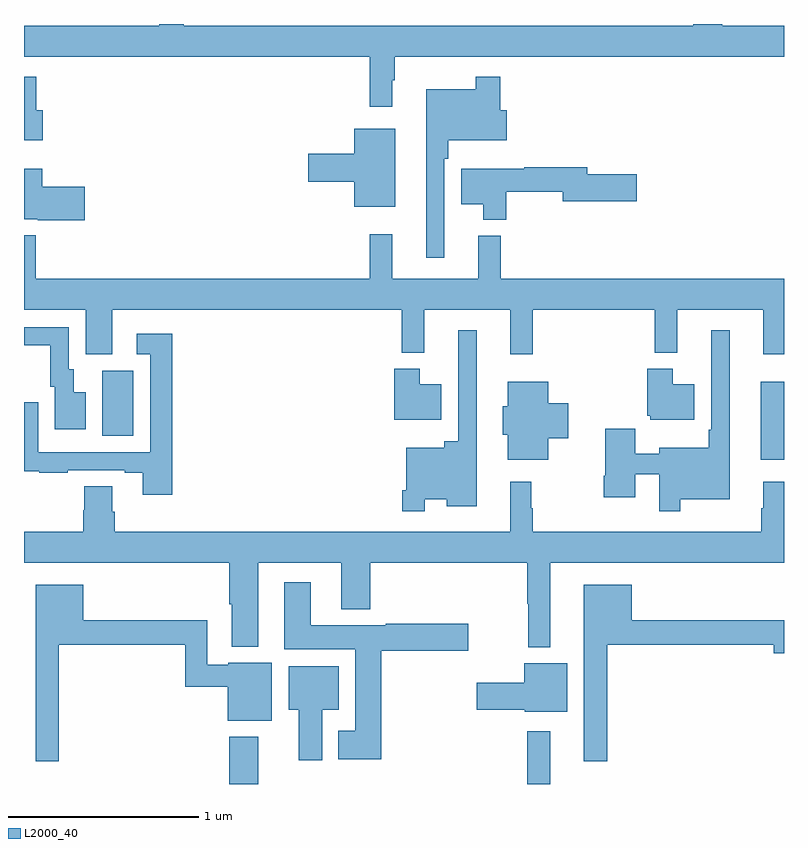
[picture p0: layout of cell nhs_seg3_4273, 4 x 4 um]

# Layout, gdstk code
import gdstk
lib = gdstk.Library(unit=1e-6, precision=1e-09)
def R(c, l, rs):  # rectangles x0, y0, x1, y1
    for r in rs: c.add(gdstk.rectangle(r[:2], r[2:], *l))
def P(c, l, *ps):  # polygons
    for p in ps: c.add(gdstk.Polygon(p, *l))
L2000_40 = (2000, 40)

nhs_seg3_4273 = lib.new_cell('nhs_seg3_4273')
R(nhs_seg3_4273, L2000_40, [(338.081,718.4,338.233,718.648), (339.648,718.4,339.769,718.678), (340.877,720.107,341,720.517), (337.412,720.232,337.576,720.576)])
P(nhs_seg3_4273, L2000_40, [(338.938,722.105),(338.95,722.105),(338.95,722.228),(341,722.228),(341,722.392),(340.675,722.392),(340.675,722.4),(340.523,722.4),(340.523,722.392),(337.84,722.392),(337.84,722.4),(337.711,722.4),(337.711,722.392),(337,722.392),(337,722.228),(338.821,722.228),(338.821,721.965),(338.938,721.965)],
  [(339.213,721.691),(339.233,721.691),(339.233,721.787),(339.541,721.787),(339.541,721.945),(339.506,721.945),(339.506,722.122),(339.378,722.122),(339.378,722.056),(339.116,722.056),(339.116,721.17),(339.213,721.17)],
  [(337.099,721.945),(337.064,721.945),(337.064,722.122),(337,722.122),(337,721.787),(337.099,721.787)],
  [(338.953,721.849),(338.738,721.849),(338.738,721.718),(338.496,721.718),(338.496,721.571),(338.738,721.571),(338.738,721.439),(338.953,721.439)],
  [(339.538,721.518),(339.836,721.518),(339.836,721.468),(340.225,721.468),(340.225,721.61),(339.964,721.61),(339.964,721.646),(339.634,721.646),(339.634,721.639),(339.302,721.639),(339.302,721.451),(339.416,721.451),(339.416,721.37),(339.538,721.37)],
  [(337.321,721.544),(337.096,721.544),(337.096,721.639),(337,721.639),(337,721.373),(337.072,721.373),(337.072,721.368),(337.321,721.368)],
  [(337.465,720.896),(338.989,720.896),(338.989,720.671),(339.107,720.671),(339.107,720.896),(339.56,720.896),(339.56,720.663),(339.677,720.663),(339.677,720.896),(340.321,720.896),(340.321,720.671),(340.439,720.671),(340.439,720.896),(340.892,720.896),(340.892,720.663),(341,720.663),(341,721.06),(339.509,721.06),(339.509,721.285),(339.392,721.285),(339.392,721.06),(338.939,721.06),(338.939,721.294),(338.821,721.294),(338.821,721.06),(337.062,721.06),(337.062,721.288),(337,721.288),(337,720.896),(337.325,720.896),(337.325,720.661),(337.465,720.661)],
  [(337.324,720.463),(337.261,720.463),(337.261,720.582),(337.236,720.582),(337.236,720.804),(337,720.804),(337,720.708),(337.139,720.708),(337.139,720.492),(337.163,720.492),(337.163,720.267),(337.324,720.267)],
  [(340.453,719.9),(340.714,719.9),(340.714,720.787),(340.617,720.787),(340.617,720.265),(340.605,720.265),(340.605,720.169),(340.343,720.169),(340.343,720.139),(340.216,720.139),(340.216,720.271),(340.058,720.271),(340.058,720.022),(340.051,720.022),(340.051,719.91),(340.216,719.91),(340.216,720.03),(340.344,720.03),(340.344,719.835),(340.453,719.835)],
  [(339.108,719.9),(339.224,719.9),(339.224,719.861),(339.382,719.861),(339.382,720.787),(339.285,720.787),(339.285,720.205),(339.212,720.205),(339.212,720.169),(339.012,720.169),(339.012,719.947),(338.992,719.947),(338.992,719.835),(339.108,719.835)],
  [(337.781,720.769),(337.593,720.769),(337.593,720.663),(337.665,720.663),(337.665,720.147),(337.074,720.147),(337.074,720.409),(337,720.409),(337,720.045),(337.081,720.045),(337.081,720.039),(337.229,720.039),(337.229,720.051),(337.529,720.051),(337.529,720.039),(337.625,720.039),(337.625,719.922),(337.781,719.922)],
  [(339.196,720.505),(339.082,720.505),(339.082,720.586),(338.948,720.586),(338.948,720.317),(339.196,720.317)],
  [(340.528,720.505),(340.414,720.505),(340.414,720.586),(340.28,720.586),(340.28,720.339),(340.296,720.339),(340.296,720.317),(340.528,720.317)],
  [(339.76,720.221),(339.865,720.221),(339.865,720.404),(339.76,720.404),(339.76,720.517),(339.545,720.517),(339.545,720.387),(339.521,720.387),(339.521,720.237),(339.545,720.237),(339.545,720.107),(339.76,720.107)],
  [(339.769,719.564),(341,719.564),(341,719.992),(340.892,719.992),(340.892,719.852),(340.881,719.852),(340.881,719.728),(339.677,719.728),(339.677,719.852),(339.67,719.852),(339.67,719.992),(339.56,719.992),(339.56,719.728),(337.478,719.728),(337.478,719.834),(337.465,719.834),(337.465,719.966),(337.318,719.966),(337.318,719.841),(337.313,719.841),(337.313,719.728),(337,719.728),(337,719.564),(338.081,719.564),(338.081,719.347),(338.093,719.347),(338.093,719.123),(338.233,719.123),(338.233,719.564),(338.669,719.564),(338.669,719.321),(338.822,719.321),(338.822,719.564),(339.648,719.564),(339.648,719.348),(339.655,719.348),(339.655,719.12),(339.769,719.12)],
  [(338.879,719.102),(339.337,719.102),(339.337,719.244),(338.905,719.244),(338.905,719.236),(338.509,719.236),(338.509,719.461),(338.369,719.461),(338.369,719.108),(338.744,719.108),(338.744,718.681),(338.654,718.681),(338.654,718.529),(338.879,718.529)],
  [(340.069,719.134),(340.946,719.134),(340.946,719.087),(341,719.087),(341,719.263),(340.198,719.263),(340.198,719.449),(339.947,719.449),(339.947,718.521),(340.069,718.521)],
  [(337.183,719.134),(337.849,719.134),(337.849,718.912),(338.072,718.912),(338.072,718.733),(338.305,718.733),(338.305,719.038),(338.076,719.038),(338.076,719.028),(337.965,719.028),(337.965,719.263),(337.312,719.263),(337.312,719.449),(337.061,719.449),(337.061,718.521),(337.183,718.521)],
  [(339.859,719.035),(339.632,719.035),(339.632,718.934),(339.384,718.934),(339.384,718.792),(339.636,718.792),(339.636,718.781),(339.859,718.781)],
  [(338.569,718.79),(338.656,718.79),(338.656,719.02),(338.393,719.02),(338.393,718.79),(338.447,718.79),(338.447,718.524),(338.569,718.524)])

lib.write_gds('nhs_seg3_4273.gds')
